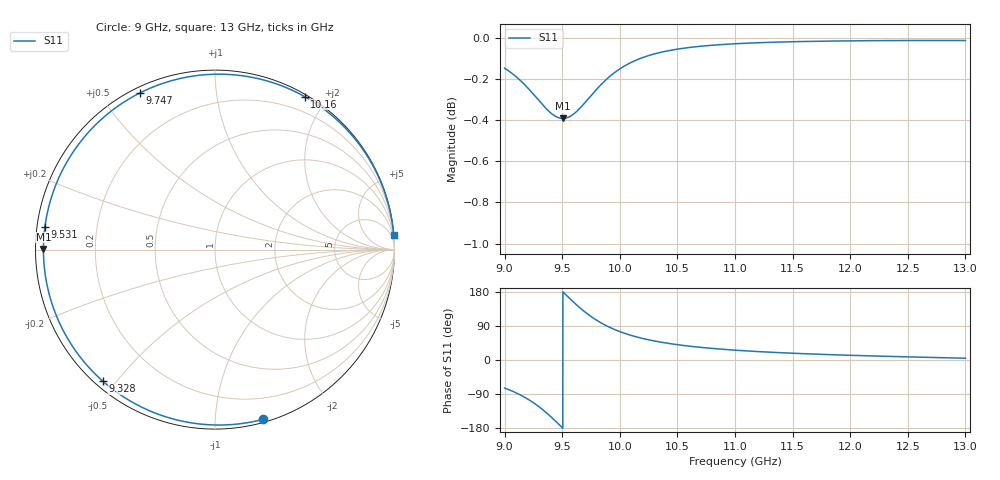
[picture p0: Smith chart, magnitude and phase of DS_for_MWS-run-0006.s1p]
! TOUCHSTONE file generated by CST DESIGN STUDIO
! Date and time: Tue Feb  4 13:23:56 2025
! Project name: C:\Work\MatlabApps\UnitCellOptimizationMatlab\CST\unitcell.cst
! Tree item: Tasks\Sweep1\SPara1\S-Parameters
! Header version: 2024
! Port assignment regex: !\s*Touchstone port\s*([0-9]+)\s*=\s*(CST MWS port|CST DES external port|CST DES block port)\s*(.+)\s* \(\"(.*)\"\)(\s*mode\s*([0-9]+))?.*
! Touchstone port assignment:
! Touchstone port 1 = CST DES external port 1 ("")
# GHz S MA R 50
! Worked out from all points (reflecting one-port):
!   4001 points, 9 GHz to 13 GHz, reference 50 ohm
!   lowest |S11| = -0.4 dB at 9.506 GHz (marker M1), VSWR 44.33, Z = 1.13 + j0.0863 ohm
!   phase of S11 starts at -74 deg and turns -281 deg over the sweep
!   S11 on the Smith chart (normalised r, x): 9 GHz: 0.02, -1.32; 9.328 GHz: 0.02, -0.46; 9.531 GHz: 0.02, +0.07; 9.747 GHz: 0.02, +0.63; 10.16 GHz: 0.02, +1.74; 13 GHz: 0, +24
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9  0.9831 -74.1
9.088  0.9791 -85.0
9.19  0.9731 -101.1
9.262  0.9681 -115.3
9.328  0.9634 -130.4
9.374  0.9603 -142.3
9.422  0.9578 -155.5
9.462  0.9564 -167.1
9.5  0.9559 -178.4
9.506  0.9559 179.8
9.531  0.9561 172.4
9.584  0.9576 156.8
9.644  0.9607 140.3
9.695  0.9642 127.3
9.747  0.9679 115.5
9.799  0.9716 104.9
9.856  0.9753 94.8
9.927  0.9794 84.1
10  0.9828 75.0
10.161  0.9881 59.7
10.315  0.9913 49.4
10.5  0.9937 40.4
10.722  0.9954 32.8
11  0.9967 25.9
11.5  0.9978 17.8
12  0.9983 12.4
12.5  0.9985 8.2
13  0.9985 4.7
